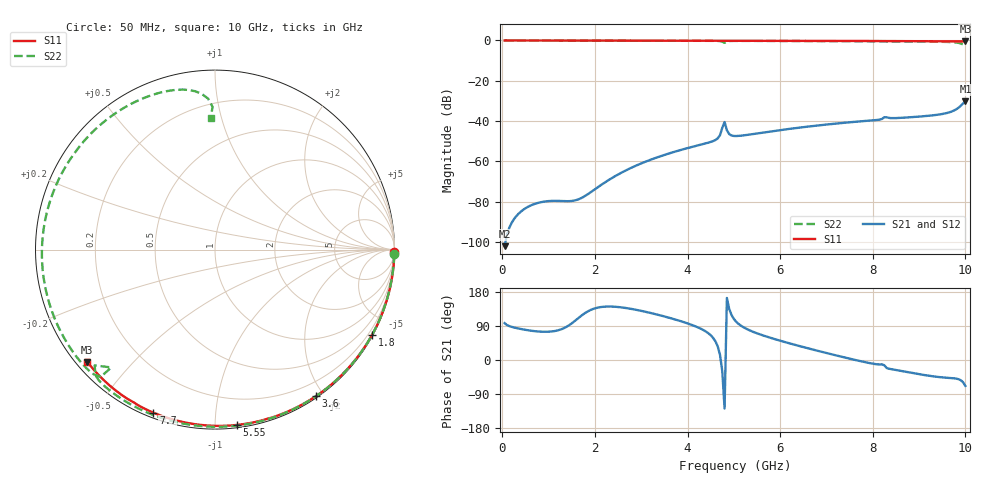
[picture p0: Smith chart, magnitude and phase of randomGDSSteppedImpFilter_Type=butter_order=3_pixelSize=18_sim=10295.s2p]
! freq	dB(S11)	phase(S11)	dB(S12)	phase(S12)
!  dB(S21)	phase(S21)	dB(S22)	phase(S22)
!S-par simulation data
#  GHz  S  DB  R 50
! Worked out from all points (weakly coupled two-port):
!   200 points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, 50 MHz to 10 GHz, reference 50 ohm
!   highest |S21| = -30.15 dB at 10 GHz (marker M1); lowest = -102.2 dB at 50 MHz (marker M2)
!   lowest |S11| = -0.5 dB at 10 GHz (marker M3), VSWR 37.37, Z = 1.53 - j18.8 ohm
!   |S11| at or under -10 dB: nowhere
!   |S22| runs from -2.7 to 0.0 dB; largest |S21 - S12| = 0
!   S11 on the Smith chart (normalised r, x): 50 MHz: open; 1.8 GHz: 0.03, -3.94; 3.6 GHz: 0.02, -1.90; 5.55 GHz: 0.02, -1.13; 7.7 GHz: 0.02, -0.69; 10 GHz: 0.03, -0.38
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0.05  -0.00 -0.8  -102.16 97.4  -102.16 97.4  -0.01 -1.5
0.85  -0.02 -13.6  -80.25 74.6  -80.25 74.6  -0.03 -26.7
1.5  -0.03 -23.8  -79.70 96.7  -79.70 96.7  -0.06 -46.5
1.75  -0.04 -27.7  -77.74 120.7  -77.74 120.7  -0.07 -53.9
1.8  -0.04 -28.5  -77.06 124.9  -77.06 124.9  -0.07 -55.3
2.55  -0.05 -40.0  -65.93 139.2  -65.93 139.2  -0.09 -76.6
3.4  -0.07 -52.6  -57.61 118.2  -57.61 118.2  -0.12 -99.4
3.6  -0.07 -55.6  -56.11 111.6  -56.11 111.6  -0.13 -104.5
4.6  -0.10 -69.9  -49.47 49.8  -49.47 49.8  -0.20 -130.1
4.7  -0.11 -71.3  -47.09 14.4  -47.09 14.4  -0.30 -133.6
4.75  -0.11 -72.0  -43.42 -29.6  -43.42 -29.6  -0.63 -136.1
4.8  -0.12 -72.6  -40.50 -128.0  -40.50 -128.0  -1.16 -131.4
4.85  -0.11 -73.3  -44.57 163.8  -44.57 163.8  -0.43 -131.9
4.9  -0.11 -74.0  -46.50 134.7  -46.50 134.7  -0.28 -134.1
5.05  -0.12 -76.1  -47.47 101.1  -47.47 101.1  -0.22 -138.7
5.55  -0.14 -82.9  -46.01 68.2  -46.01 68.2  -0.23 -150.9
6.7  -0.19 -98.0  -42.51 27.7  -42.51 27.7  -0.31 -177.8
7.7  -0.25 -110.7  -40.23 -2.1  -40.23 -2.1  -0.39 158.2
8.35  -0.31 -118.7  -38.45 -23.1  -38.45 -23.1  -0.46 141.7
9.55  -0.42 -133.3  -36.30 -46.4  -36.30 -46.4  -0.70 106.9
9.85  -0.45 -136.9  -33.43 -50.5  -33.43 -50.5  -1.20 94.9
10  -0.47 -138.7  -30.15 -68.4  -30.15 -68.4  -2.68 91.8
